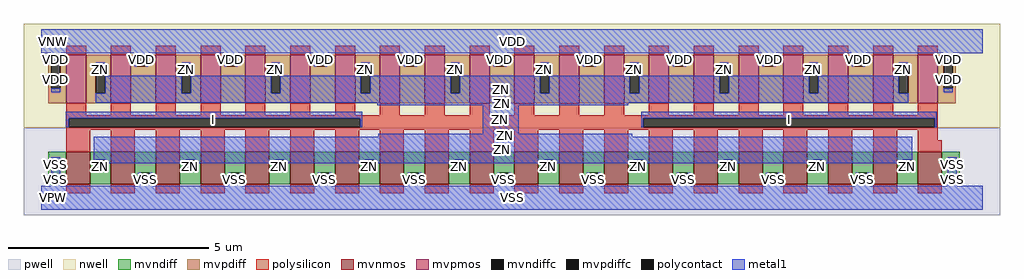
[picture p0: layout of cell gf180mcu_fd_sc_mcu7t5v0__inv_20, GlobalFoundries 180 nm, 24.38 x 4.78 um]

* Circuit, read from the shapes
.subckt gf180mcu_fd_sc_mcu7t5v0__inv_20 I ZN VDD VNW VPW VSS
XM1 ZN I VSS VPW nfet_06v0 w=0.82u l=0.6u m=20
XM2 ZN I VDD VNW pfet_06v0 w=1.22u l=0.5u m=20
.ends

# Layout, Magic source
magic
tech gf180mcuD
magscale 1 10
<< nwell >>
rect -86 352 4790 870
<< pwell >>
rect -86 -86 4790 352
<< mvnmos >>
rect 124 68 244 232
rect 348 68 468 232
rect 572 68 692 232
rect 796 68 916 232
rect 1020 68 1140 232
rect 1244 68 1364 232
rect 1468 68 1588 232
rect 1692 68 1812 232
rect 1916 68 2036 232
rect 2140 68 2260 232
rect 2364 68 2484 232
rect 2588 68 2708 232
rect 2812 68 2932 232
rect 3036 68 3156 232
rect 3260 68 3380 232
rect 3484 68 3604 232
rect 3708 68 3828 232
rect 3932 68 4052 232
rect 4156 68 4276 232
rect 4380 68 4500 232
<< mvpmos >>
rect 124 472 224 716
rect 348 472 448 716
rect 572 472 672 716
rect 796 472 896 716
rect 1020 472 1120 716
rect 1244 472 1344 716
rect 1468 472 1568 716
rect 1692 472 1792 716
rect 1916 472 2016 716
rect 2140 472 2240 716
rect 2364 472 2464 716
rect 2588 472 2688 716
rect 2812 472 2912 716
rect 3036 472 3136 716
rect 3260 472 3360 716
rect 3484 472 3584 716
rect 3708 472 3808 716
rect 3932 472 4032 716
rect 4156 472 4256 716
rect 4380 472 4480 716
<< mvndiff >>
rect 36 192 124 232
rect 36 146 49 192
rect 95 146 124 192
rect 36 68 124 146
rect 244 192 348 232
rect 244 146 273 192
rect 319 146 348 192
rect 244 68 348 146
rect 468 127 572 232
rect 468 81 497 127
rect 543 81 572 127
rect 468 68 572 81
rect 692 192 796 232
rect 692 146 721 192
rect 767 146 796 192
rect 692 68 796 146
rect 916 127 1020 232
rect 916 81 945 127
rect 991 81 1020 127
rect 916 68 1020 81
rect 1140 192 1244 232
rect 1140 146 1169 192
rect 1215 146 1244 192
rect 1140 68 1244 146
rect 1364 127 1468 232
rect 1364 81 1393 127
rect 1439 81 1468 127
rect 1364 68 1468 81
rect 1588 192 1692 232
rect 1588 146 1617 192
rect 1663 146 1692 192
rect 1588 68 1692 146
rect 1812 127 1916 232
rect 1812 81 1841 127
rect 1887 81 1916 127
rect 1812 68 1916 81
rect 2036 192 2140 232
rect 2036 146 2065 192
rect 2111 146 2140 192
rect 2036 68 2140 146
rect 2260 127 2364 232
rect 2260 81 2289 127
rect 2335 81 2364 127
rect 2260 68 2364 81
rect 2484 192 2588 232
rect 2484 146 2513 192
rect 2559 146 2588 192
rect 2484 68 2588 146
rect 2708 127 2812 232
rect 2708 81 2737 127
rect 2783 81 2812 127
rect 2708 68 2812 81
rect 2932 192 3036 232
rect 2932 146 2961 192
rect 3007 146 3036 192
rect 2932 68 3036 146
rect 3156 127 3260 232
rect 3156 81 3185 127
rect 3231 81 3260 127
rect 3156 68 3260 81
rect 3380 192 3484 232
rect 3380 146 3409 192
rect 3455 146 3484 192
rect 3380 68 3484 146
rect 3604 127 3708 232
rect 3604 81 3633 127
rect 3679 81 3708 127
rect 3604 68 3708 81
rect 3828 192 3932 232
rect 3828 146 3857 192
rect 3903 146 3932 192
rect 3828 68 3932 146
rect 4052 127 4156 232
rect 4052 81 4081 127
rect 4127 81 4156 127
rect 4052 68 4156 81
rect 4276 192 4380 232
rect 4276 146 4305 192
rect 4351 146 4380 192
rect 4276 68 4380 146
rect 4500 192 4588 232
rect 4500 146 4529 192
rect 4575 146 4588 192
rect 4500 68 4588 146
<< mvpdiff >>
rect 36 687 124 716
rect 36 547 49 687
rect 95 547 124 687
rect 36 472 124 547
rect 224 664 348 716
rect 224 524 273 664
rect 319 524 348 664
rect 224 472 348 524
rect 448 703 572 716
rect 448 657 477 703
rect 523 657 572 703
rect 448 472 572 657
rect 672 664 796 716
rect 672 524 701 664
rect 747 524 796 664
rect 672 472 796 524
rect 896 703 1020 716
rect 896 657 925 703
rect 971 657 1020 703
rect 896 472 1020 657
rect 1120 664 1244 716
rect 1120 524 1149 664
rect 1195 524 1244 664
rect 1120 472 1244 524
rect 1344 703 1468 716
rect 1344 657 1373 703
rect 1419 657 1468 703
rect 1344 472 1468 657
rect 1568 664 1692 716
rect 1568 524 1597 664
rect 1643 524 1692 664
rect 1568 472 1692 524
rect 1792 703 1916 716
rect 1792 657 1821 703
rect 1867 657 1916 703
rect 1792 472 1916 657
rect 2016 664 2140 716
rect 2016 524 2045 664
rect 2091 524 2140 664
rect 2016 472 2140 524
rect 2240 703 2364 716
rect 2240 657 2269 703
rect 2315 657 2364 703
rect 2240 472 2364 657
rect 2464 664 2588 716
rect 2464 524 2493 664
rect 2539 524 2588 664
rect 2464 472 2588 524
rect 2688 703 2812 716
rect 2688 657 2717 703
rect 2763 657 2812 703
rect 2688 472 2812 657
rect 2912 664 3036 716
rect 2912 524 2941 664
rect 2987 524 3036 664
rect 2912 472 3036 524
rect 3136 703 3260 716
rect 3136 657 3165 703
rect 3211 657 3260 703
rect 3136 472 3260 657
rect 3360 664 3484 716
rect 3360 524 3389 664
rect 3435 524 3484 664
rect 3360 472 3484 524
rect 3584 703 3708 716
rect 3584 657 3613 703
rect 3659 657 3708 703
rect 3584 472 3708 657
rect 3808 664 3932 716
rect 3808 524 3837 664
rect 3883 524 3932 664
rect 3808 472 3932 524
rect 4032 703 4156 716
rect 4032 657 4061 703
rect 4107 657 4156 703
rect 4032 472 4156 657
rect 4256 664 4380 716
rect 4256 524 4285 664
rect 4331 524 4380 664
rect 4256 472 4380 524
rect 4480 687 4568 716
rect 4480 547 4509 687
rect 4555 547 4568 687
rect 4480 472 4568 547
<< mvndiffc >>
rect 49 146 95 192
rect 273 146 319 192
rect 497 81 543 127
rect 721 146 767 192
rect 945 81 991 127
rect 1169 146 1215 192
rect 1393 81 1439 127
rect 1617 146 1663 192
rect 1841 81 1887 127
rect 2065 146 2111 192
rect 2289 81 2335 127
rect 2513 146 2559 192
rect 2737 81 2783 127
rect 2961 146 3007 192
rect 3185 81 3231 127
rect 3409 146 3455 192
rect 3633 81 3679 127
rect 3857 146 3903 192
rect 4081 81 4127 127
rect 4305 146 4351 192
rect 4529 146 4575 192
<< mvpdiffc >>
rect 49 547 95 687
rect 273 524 319 664
rect 477 657 523 703
rect 701 524 747 664
rect 925 657 971 703
rect 1149 524 1195 664
rect 1373 657 1419 703
rect 1597 524 1643 664
rect 1821 657 1867 703
rect 2045 524 2091 664
rect 2269 657 2315 703
rect 2493 524 2539 664
rect 2717 657 2763 703
rect 2941 524 2987 664
rect 3165 657 3211 703
rect 3389 524 3435 664
rect 3613 657 3659 703
rect 3837 524 3883 664
rect 4061 657 4107 703
rect 4285 524 4331 664
rect 4509 547 4555 687
<< polysilicon >>
rect 124 716 224 760
rect 348 716 448 760
rect 572 716 672 760
rect 796 716 896 760
rect 1020 716 1120 760
rect 1244 716 1344 760
rect 1468 716 1568 760
rect 1692 716 1792 760
rect 1916 716 2016 760
rect 2140 716 2240 760
rect 2364 716 2464 760
rect 2588 716 2688 760
rect 2812 716 2912 760
rect 3036 716 3136 760
rect 3260 716 3360 760
rect 3484 716 3584 760
rect 3708 716 3808 760
rect 3932 716 4032 760
rect 4156 716 4256 760
rect 4380 716 4480 760
rect 124 412 224 472
rect 348 412 448 472
rect 572 412 672 472
rect 796 412 896 472
rect 1020 412 1120 472
rect 1244 412 1344 472
rect 1468 412 1568 472
rect 1692 412 1792 472
rect 1916 412 2016 472
rect 2140 412 2240 472
rect 2364 412 2464 472
rect 2588 412 2688 472
rect 2812 412 2912 472
rect 3036 412 3136 472
rect 3260 412 3360 472
rect 3484 412 3584 472
rect 3708 412 3808 472
rect 3932 412 4032 472
rect 4156 412 4256 472
rect 4380 412 4480 472
rect 124 399 4480 412
rect 124 353 137 399
rect 1593 353 3008 399
rect 4464 353 4480 399
rect 124 340 4480 353
rect 124 232 244 340
rect 348 232 468 340
rect 572 232 692 340
rect 796 232 916 340
rect 1020 232 1140 340
rect 1244 232 1364 340
rect 1468 232 1588 340
rect 1692 232 1812 340
rect 1916 232 2036 340
rect 2140 232 2260 340
rect 2364 232 2484 340
rect 2588 232 2708 340
rect 2812 232 2932 340
rect 3036 232 3156 340
rect 3260 232 3380 340
rect 3484 232 3604 340
rect 3708 232 3828 340
rect 3932 232 4052 340
rect 4156 232 4276 340
rect 4380 288 4480 340
rect 4380 232 4500 288
rect 124 24 244 68
rect 348 24 468 68
rect 572 24 692 68
rect 796 24 916 68
rect 1020 24 1140 68
rect 1244 24 1364 68
rect 1468 24 1588 68
rect 1692 24 1812 68
rect 1916 24 2036 68
rect 2140 24 2260 68
rect 2364 24 2484 68
rect 2588 24 2708 68
rect 2812 24 2932 68
rect 3036 24 3156 68
rect 3260 24 3380 68
rect 3484 24 3604 68
rect 3708 24 3828 68
rect 3932 24 4052 68
rect 4156 24 4276 68
rect 4380 24 4500 68
<< polycontact >>
rect 137 353 1593 399
rect 3008 353 4464 399
<< metal1 >>
rect 0 724 4704 844
rect 49 687 95 724
rect 466 703 534 724
rect 49 528 95 547
rect 273 664 319 675
rect 466 657 477 703
rect 523 657 534 703
rect 914 703 982 724
rect 701 664 747 675
rect 319 524 701 611
rect 914 657 925 703
rect 971 657 982 703
rect 1362 703 1430 724
rect 1149 664 1195 675
rect 747 524 1149 611
rect 1362 657 1373 703
rect 1419 657 1430 703
rect 1810 703 1878 724
rect 1597 664 1643 675
rect 1195 524 1597 611
rect 1810 657 1821 703
rect 1867 657 1878 703
rect 2258 703 2326 724
rect 2045 664 2091 675
rect 1643 524 2045 611
rect 2258 657 2269 703
rect 2315 657 2326 703
rect 2706 703 2774 724
rect 2493 664 2539 675
rect 2091 524 2493 611
rect 2706 657 2717 703
rect 2763 657 2774 703
rect 3154 703 3222 724
rect 2941 664 2987 675
rect 2539 524 2941 611
rect 3154 657 3165 703
rect 3211 657 3222 703
rect 3602 703 3670 724
rect 3389 664 3435 675
rect 2987 524 3389 611
rect 3602 657 3613 703
rect 3659 657 3670 703
rect 4050 703 4118 724
rect 3837 664 3883 675
rect 3435 524 3837 611
rect 4050 657 4061 703
rect 4107 657 4118 703
rect 4509 687 4555 724
rect 4285 664 4331 675
rect 3883 524 4285 611
rect 4509 528 4555 547
rect 273 476 4331 524
rect 1679 463 2933 476
rect 122 399 1604 430
rect 122 353 137 399
rect 1593 353 1604 399
rect 2206 321 2386 463
rect 2997 399 4475 430
rect 2997 353 3008 399
rect 4464 353 4475 399
rect 1683 307 2954 321
rect 49 192 95 203
rect 262 192 4351 307
rect 262 146 273 192
rect 319 173 721 192
rect 319 146 330 173
rect 767 173 1169 192
rect 49 60 95 146
rect 721 135 767 146
rect 1215 173 1617 192
rect 1169 135 1215 146
rect 1663 173 2065 192
rect 1617 135 1663 146
rect 2111 173 2513 192
rect 2065 135 2111 146
rect 2559 173 2961 192
rect 2513 135 2559 146
rect 3007 173 3409 192
rect 2961 135 3007 146
rect 3455 173 3857 192
rect 3409 135 3455 146
rect 3903 173 4305 192
rect 3857 135 3903 146
rect 4305 135 4351 146
rect 4529 192 4575 203
rect 486 81 497 127
rect 543 81 554 127
rect 486 60 554 81
rect 934 81 945 127
rect 991 81 1002 127
rect 934 60 1002 81
rect 1382 81 1393 127
rect 1439 81 1450 127
rect 1382 60 1450 81
rect 1830 81 1841 127
rect 1887 81 1898 127
rect 1830 60 1898 81
rect 2278 81 2289 127
rect 2335 81 2346 127
rect 2278 60 2346 81
rect 2726 81 2737 127
rect 2783 81 2794 127
rect 2726 60 2794 81
rect 3174 81 3185 127
rect 3231 81 3242 127
rect 3174 60 3242 81
rect 3622 81 3633 127
rect 3679 81 3690 127
rect 3622 60 3690 81
rect 4070 81 4081 127
rect 4127 81 4138 127
rect 4070 60 4138 81
rect 4529 60 4575 146
rect 0 -60 4704 60
<< labels >>
flabel metal1 s 4529 127 4575 203 0 FreeSans 400 0 0 0 VSS
port 6 nsew ground bidirectional abutment
flabel metal1 s 4285 611 4331 675 0 FreeSans 400 0 0 0 ZN
port 2 nsew default output
flabel metal1 s 122 353 1604 430 0 FreeSans 400 0 0 0 I
port 1 nsew default input
flabel metal1 s 0 724 4704 844 0 FreeSans 400 0 0 0 VDD
port 3 nsew power bidirectional abutment
flabel nwell s 10 734 110 834 0 FreeSans 400 0 0 0 VNW
port 4 nsew power bidirectional
flabel pwell s 10 -50 110 50 0 FreeSans 400 0 0 0 VPW
port 5 nsew ground bidirectional
rlabel metal1 s 2997 353 4475 430 1 I
port 1 nsew default input
rlabel metal1 s 3837 611 3883 675 1 ZN
port 2 nsew default output
rlabel metal1 s 3389 611 3435 675 1 ZN
port 2 nsew default output
rlabel metal1 s 2941 611 2987 675 1 ZN
port 2 nsew default output
rlabel metal1 s 2493 611 2539 675 1 ZN
port 2 nsew default output
rlabel metal1 s 2045 611 2091 675 1 ZN
port 2 nsew default output
rlabel metal1 s 1597 611 1643 675 1 ZN
port 2 nsew default output
rlabel metal1 s 1149 611 1195 675 1 ZN
port 2 nsew default output
rlabel metal1 s 701 611 747 675 1 ZN
port 2 nsew default output
rlabel metal1 s 273 611 319 675 1 ZN
port 2 nsew default output
rlabel metal1 s 273 476 4331 611 1 ZN
port 2 nsew default output
rlabel metal1 s 1679 463 2933 476 1 ZN
port 2 nsew default output
rlabel metal1 s 2206 321 2386 463 1 ZN
port 2 nsew default output
rlabel metal1 s 1683 307 2954 321 1 ZN
port 2 nsew default output
rlabel metal1 s 262 173 4351 307 1 ZN
port 2 nsew default output
rlabel metal1 s 4305 146 4351 173 1 ZN
port 2 nsew default output
rlabel metal1 s 3857 146 3903 173 1 ZN
port 2 nsew default output
rlabel metal1 s 3409 146 3455 173 1 ZN
port 2 nsew default output
rlabel metal1 s 2961 146 3007 173 1 ZN
port 2 nsew default output
rlabel metal1 s 2513 146 2559 173 1 ZN
port 2 nsew default output
rlabel metal1 s 2065 146 2111 173 1 ZN
port 2 nsew default output
rlabel metal1 s 1617 146 1663 173 1 ZN
port 2 nsew default output
rlabel metal1 s 1169 146 1215 173 1 ZN
port 2 nsew default output
rlabel metal1 s 721 146 767 173 1 ZN
port 2 nsew default output
rlabel metal1 s 262 146 330 173 1 ZN
port 2 nsew default output
rlabel metal1 s 4305 135 4351 146 1 ZN
port 2 nsew default output
rlabel metal1 s 3857 135 3903 146 1 ZN
port 2 nsew default output
rlabel metal1 s 3409 135 3455 146 1 ZN
port 2 nsew default output
rlabel metal1 s 2961 135 3007 146 1 ZN
port 2 nsew default output
rlabel metal1 s 2513 135 2559 146 1 ZN
port 2 nsew default output
rlabel metal1 s 2065 135 2111 146 1 ZN
port 2 nsew default output
rlabel metal1 s 1617 135 1663 146 1 ZN
port 2 nsew default output
rlabel metal1 s 1169 135 1215 146 1 ZN
port 2 nsew default output
rlabel metal1 s 721 135 767 146 1 ZN
port 2 nsew default output
rlabel metal1 s 4509 657 4555 724 1 VDD
port 3 nsew power bidirectional abutment
rlabel metal1 s 4050 657 4118 724 1 VDD
port 3 nsew power bidirectional abutment
rlabel metal1 s 3602 657 3670 724 1 VDD
port 3 nsew power bidirectional abutment
rlabel metal1 s 3154 657 3222 724 1 VDD
port 3 nsew power bidirectional abutment
rlabel metal1 s 2706 657 2774 724 1 VDD
port 3 nsew power bidirectional abutment
rlabel metal1 s 2258 657 2326 724 1 VDD
port 3 nsew power bidirectional abutment
rlabel metal1 s 1810 657 1878 724 1 VDD
port 3 nsew power bidirectional abutment
rlabel metal1 s 1362 657 1430 724 1 VDD
port 3 nsew power bidirectional abutment
rlabel metal1 s 914 657 982 724 1 VDD
port 3 nsew power bidirectional abutment
rlabel metal1 s 466 657 534 724 1 VDD
port 3 nsew power bidirectional abutment
rlabel metal1 s 49 657 95 724 1 VDD
port 3 nsew power bidirectional abutment
rlabel metal1 s 4509 528 4555 657 1 VDD
port 3 nsew power bidirectional abutment
rlabel metal1 s 49 528 95 657 1 VDD
port 3 nsew power bidirectional abutment
rlabel metal1 s 49 127 95 203 1 VSS
port 6 nsew ground bidirectional abutment
rlabel metal1 s 4529 60 4575 127 1 VSS
port 6 nsew ground bidirectional abutment
rlabel metal1 s 4070 60 4138 127 1 VSS
port 6 nsew ground bidirectional abutment
rlabel metal1 s 3622 60 3690 127 1 VSS
port 6 nsew ground bidirectional abutment
rlabel metal1 s 3174 60 3242 127 1 VSS
port 6 nsew ground bidirectional abutment
rlabel metal1 s 2726 60 2794 127 1 VSS
port 6 nsew ground bidirectional abutment
rlabel metal1 s 2278 60 2346 127 1 VSS
port 6 nsew ground bidirectional abutment
rlabel metal1 s 1830 60 1898 127 1 VSS
port 6 nsew ground bidirectional abutment
rlabel metal1 s 1382 60 1450 127 1 VSS
port 6 nsew ground bidirectional abutment
rlabel metal1 s 934 60 1002 127 1 VSS
port 6 nsew ground bidirectional abutment
rlabel metal1 s 486 60 554 127 1 VSS
port 6 nsew ground bidirectional abutment
rlabel metal1 s 49 60 95 127 1 VSS
port 6 nsew ground bidirectional abutment
rlabel metal1 s 0 -60 4704 60 1 VSS
port 6 nsew ground bidirectional abutment
<< properties >>
string FIXED_BBOX 0 0 4704 784
string GDS_END 516512
string GDS_FILE $PDKPATH/libs.ref/gf180mcu_fd_sc_mcu7t5v0/gds/gf180mcu_fd_sc_mcu7t5v0.gds
string GDS_START 506700
string LEFclass core
string LEFsite GF018hv5v_mcu_sc7
string LEFsymmetry X Y
<< end >>
